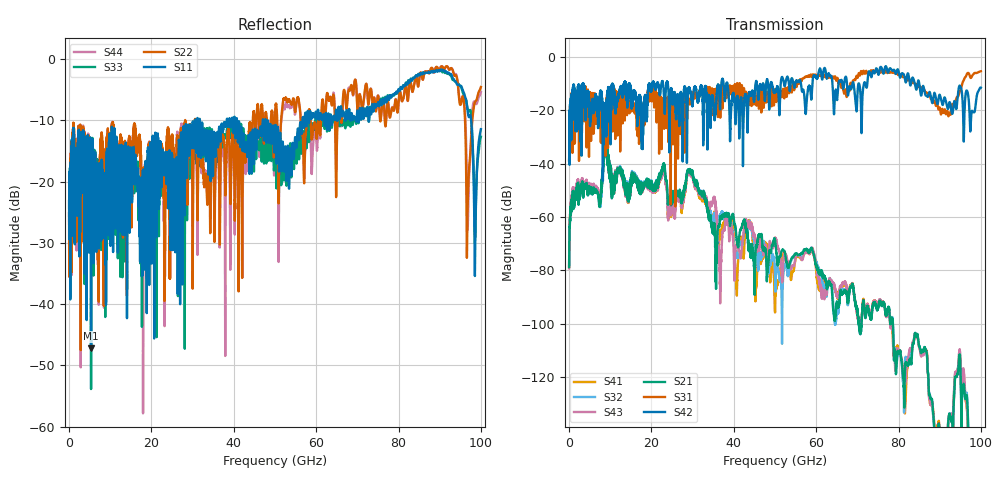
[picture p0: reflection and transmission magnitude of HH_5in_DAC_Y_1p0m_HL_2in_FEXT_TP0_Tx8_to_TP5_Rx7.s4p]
# GHz S RI R 45
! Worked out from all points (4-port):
!   4000 points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, 25 MHz to 100 GHz, reference 45 ohm
!   strongest paths, dB at 25 MHz, 25.02 GHz, 50.02 GHz, 75.03 GHz, 100 GHz:
!     S42: -38.8, -15.0, -12.9, -6.4, -11.5
!     S31: -38.8, -14.4, -12.1, -5.8, -5.4
!     S21: -78.7, -53.2, -68.6, -93.8, -179.1
!     S43: -79.3, -55.9, -67.7, -92.5, -178.4
!     S32: -77.9, -54.3, -82.4, -93.7, -184.7
!     S41: -78.6, -56.2, -95.7, -92.6, -180.5
!   lowest |S11| = -47.2 dB at 5.35 GHz (marker M1), VSWR 1.01, Z = 44.9 + j0.385 ohm
!   |S11| at or under -10 dB: start of sweep to 30.63 GHz; 31.79 GHz to 38.3 GHz (6.511 GHz wide, 18.6 % of centre); 48.26 GHz to 56.68 GHz (8.422 GHz wide, 16.1 % of centre)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
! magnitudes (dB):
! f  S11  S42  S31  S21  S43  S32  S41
! 25 MHz  -23.2  -38.8  -38.8  -78.7  -79.3  -77.9  -78.6
! 5.35 GHz  -47.2  -22.0  -31.5  -49.9  -48.5  -49.2  -49.6
! 29.5 GHz  -11.0  -13.3  -16.7  -43.2  -44.3  -43.0  -44.0
! 40.67 GHz  -10.0  -16.9  -12.2  -67.6  -70.6  -73.4  -85.7
! 43.55 GHz  -12.4  -16.4  -14.2  -71.5  -63.7  -64.3  -62.5
! 96.88 GHz  -8.9  -14.0  -6.0  -136.6  -138.8  -135.2  -140.2
! 100 GHz  -11.4  -11.5  -5.4  -179.1  -178.4  -184.7  -180.5
